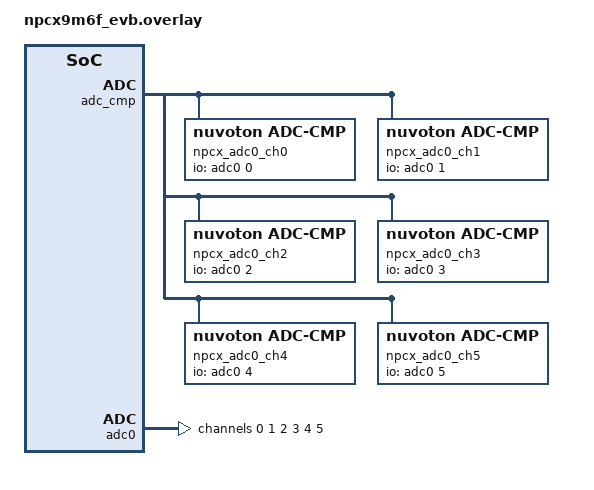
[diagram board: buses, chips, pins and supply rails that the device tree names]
/*
 * Copyright (c) 2023 Nuvoton Technology Corporation.
 *
 * SPDX-License-Identifier: Apache-2.0
 */

/ {
	chosen {
		zephyr,shell-uart = &uart1;
	};
};


/ {
	adc_cmp {
		npcx_adc0_ch0: adc0_ch0_cmp {
			compatible = "nuvoton,adc-cmp";
			io-channels = <&adc0 0>;
			comparison = "ADC_CMP_NPCX_GREATER";
			threshold-mv = <1800>;
			thr-sel = "ADC_CMP_NPCX_THRCTL1";
		};
		npcx_adc0_ch1: adc0_ch1_cmp {
			compatible = "nuvoton,adc-cmp";
			io-channels = <&adc0 1>;
			comparison = "ADC_CMP_NPCX_GREATER";
			threshold-mv = <1800>;
			thr-sel = "ADC_CMP_NPCX_THRCTL2";
		};
		npcx_adc0_ch2: adc0_ch2_cmp {
			compatible = "nuvoton,adc-cmp";
			io-channels = <&adc0 2>;
			comparison = "ADC_CMP_NPCX_GREATER";
			threshold-mv = <1800>;
			thr-sel = "ADC_CMP_NPCX_THRCTL3";
		};
		npcx_adc0_ch3: adc0_ch3_cmp {
			compatible = "nuvoton,adc-cmp";
			io-channels = <&adc0 3>;
			comparison = "ADC_CMP_NPCX_GREATER";
			threshold-mv = <1800>;
			thr-sel = "ADC_CMP_NPCX_THRCTL4";
		};
		npcx_adc0_ch4: adc0_ch4_cmp {
			compatible = "nuvoton,adc-cmp";
			io-channels = <&adc0 4>;
			comparison = "ADC_CMP_NPCX_GREATER";
			threshold-mv = <1800>;
			thr-sel = "ADC_CMP_NPCX_THRCTL5";
		};
		npcx_adc0_ch5: adc0_ch5_cmp {
			compatible = "nuvoton,adc-cmp";
			io-channels = <&adc0 5>;
			comparison = "ADC_CMP_NPCX_GREATER";
			threshold-mv = <1800>;
			thr-sel = "ADC_CMP_NPCX_THRCTL6";
		};
	};
};

&adc0 {
	#address-cells = <1>;
	#size-cells = <0>;

	status = "okay";
	/* Use adc0 channel 0~5 for 'adc_api' driver tests */
	pinctrl-0 = <&adc0_chan0_gp45
		     &adc0_chan1_gp44
		     &adc0_chan2_gp43
		     &adc0_chan3_gp42
		     &adc0_chan4_gp41
		     &adc0_chan5_gp37>;

	pinctrl-names = "default";

	channel@0 {
		reg = <0>;
		zephyr,gain = "ADC_GAIN_1";
		zephyr,reference = "ADC_REF_INTERNAL";
		zephyr,vref-mv = <2816>;
		zephyr,acquisition-time = <ADC_ACQ_TIME_DEFAULT>;
		zephyr,resolution = <10>;
	};
	channel@1 {
		reg = <1>;
		zephyr,gain = "ADC_GAIN_1";
		zephyr,reference = "ADC_REF_INTERNAL";
		zephyr,vref-mv = <2816>;
		zephyr,acquisition-time = <ADC_ACQ_TIME_DEFAULT>;
		zephyr,resolution = <10>;
	};
	channel@2 {
		reg = <2>;
		zephyr,gain = "ADC_GAIN_1";
		zephyr,reference = "ADC_REF_INTERNAL";
		zephyr,vref-mv = <2816>;
		zephyr,acquisition-time = <ADC_ACQ_TIME_DEFAULT>;
		zephyr,resolution = <10>;
	};
	channel@3 {
		reg = <3>;
		zephyr,gain = "ADC_GAIN_1";
		zephyr,reference = "ADC_REF_INTERNAL";
		zephyr,vref-mv = <2816>;
		zephyr,acquisition-time = <ADC_ACQ_TIME_DEFAULT>;
		zephyr,resolution = <10>;
	};
	channel@4 {
		reg = <4>;
		zephyr,gain = "ADC_GAIN_1";
		zephyr,reference = "ADC_REF_INTERNAL";
		zephyr,vref-mv = <2816>;
		zephyr,acquisition-time = <ADC_ACQ_TIME_DEFAULT>;
		zephyr,resolution = <10>;
	};
	channel@5 {
		reg = <5>;
		zephyr,gain = "ADC_GAIN_1";
		zephyr,reference = "ADC_REF_INTERNAL";
		zephyr,vref-mv = <2816>;
		zephyr,acquisition-time = <ADC_ACQ_TIME_DEFAULT>;
		zephyr,resolution = <10>;
	};
};
